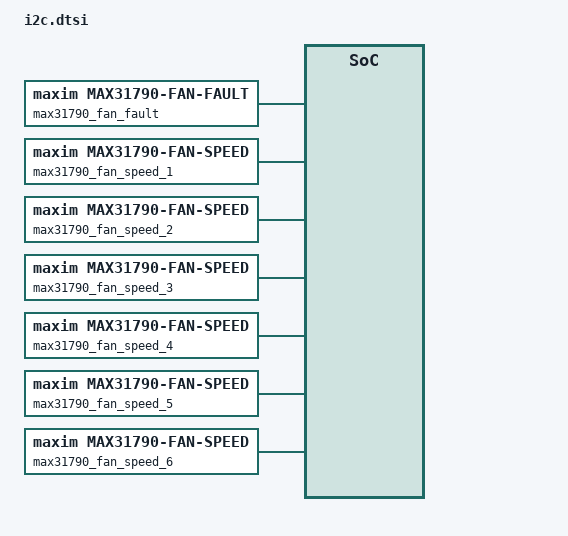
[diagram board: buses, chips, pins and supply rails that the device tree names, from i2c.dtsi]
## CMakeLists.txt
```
# SPDX-License-Identifier: Apache-2.0

cmake_minimum_required(VERSION 3.20.0)
find_package(Zephyr REQUIRED HINTS $ENV{ZEPHYR_BASE})
project(build_all)

# Exclude main when running the generic test because ztest supplies its own
target_sources_ifndef(CONFIG_GENERIC_SENSOR_TEST app PRIVATE src/main.c)
target_sources_ifdef(CONFIG_GENERIC_SENSOR_TEST app PRIVATE src/generic_test.c)
```

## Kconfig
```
# Copyright (c) 2023 Google LLC
# SPDX-License-Identifier: Apache-2.0

config GENERIC_SENSOR_TEST
	bool "Compile and run the generic sensor tests"
	depends on ZTEST
	help
	  Enables building and running the generic sensor test suite that will
	  iterate through the device tree and run sample path tests on any
	  sensor that supports the backend sensor emulator API.

config GENERIC_SENSOR_TEST_NUM_EXPECTED_VALS
	int "Number of expected values to use in test"
	default 5
	depends on GENERIC_SENSOR_TEST
	help
	  Controls the number of expected values to use in the generic sensor
	  test, interpolated from the sensor's reported lower and upper sample
	  range boundaries. The test will run one iteration for each expected
	  value. For example, if GENERIC_TEST_NUM_EXPECTED_VALS == 5, and the
	  sensor range is 0..100, the test will run 5 times with expected values
	  0, 25, 50, 75, and 100. These iterations are run in parallel.

source "Kconfig.zephyr"
```

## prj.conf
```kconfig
CONFIG_TEST=y
CONFIG_TEST_USERSPACE=y
CONFIG_LOG=y
CONFIG_SENSOR_LOG_LEVEL_DBG=y
CONFIG_SYS_CLOCK_TICKS_PER_SEC=1000
CONFIG_ADC=y
CONFIG_GPIO=y
CONFIG_I2C=y
CONFIG_I3C=y
CONFIG_PWM=y
CONFIG_PWM_CAPTURE=y
CONFIG_SERIAL=y
CONFIG_SPI=y
CONFIG_MFD=y
CONFIG_W1=y
CONFIG_SENSOR=y
CONFIG_ICM42605_TRIGGER_NONE=y
CONFIG_EMUL=y
```

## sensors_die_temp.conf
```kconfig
CONFIG_ISM330DHCX_ENABLE_TEMP=y
CONFIG_IIS2ICLX_ENABLE_TEMP=y
CONFIG_LSM6DS0_ENABLE_TEMP=y
CONFIG_LSM6DSV16X_ENABLE_TEMP=y
CONFIG_LSM6DSO_ENABLE_TEMP=y
CONFIG_LIS2DE12_ENABLE_TEMP=y
CONFIG_LIS2DS12_ENABLE_TEMP=y
CONFIG_LIS2DUX12_ENABLE_TEMP=y
CONFIG_LSM6DSO16IS_ENABLE_TEMP=y
CONFIG_LSM6DSL_ENABLE_TEMP=y
```

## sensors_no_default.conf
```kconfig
CONFIG_VL53L1X_INTERRUPT_MODE=n
CONFIG_VL53L1X_XSHUT=n
```

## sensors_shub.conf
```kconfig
CONFIG_IIS2ICLX_SENSORHUB=y
CONFIG_IIS2ICLX_EXT_LIS2MDL=y
CONFIG_IIS2ICLX_EXT_LPS22HB=y
CONFIG_IIS2ICLX_EXT_HTS221=y

CONFIG_ISM330DHCX_SENSORHUB=y
CONFIG_ISM330DHCX_EXT_LIS2MDL=y
CONFIG_ISM330DHCX_EXT_LPS22HB=y
CONFIG_ISM330DHCX_EXT_HTS221=y

CONFIG_LSM6DSL_SENSORHUB=y
CONFIG_LSM6DSL_EXT0_LIS2MDL=y
CONFIG_LSM6DSL_EXT0_LPS22HB=y

CONFIG_LSM6DSO_SENSORHUB=y
CONFIG_LSM6DSO_EXT_LIS2MDL=y
CONFIG_LSM6DSO_EXT_LPS22HB=y
CONFIG_LSM6DSO_EXT_HTS221=y

CONFIG_LSM6DSO16IS_SENSORHUB=y
CONFIG_LSM6DSO16IS_EXT_LIS2MDL=y
CONFIG_LSM6DSO16IS_EXT_LPS22HB=y
CONFIG_LSM6DSO16IS_EXT_HTS221=y

CONFIG_LSM6DSV16X_SENSORHUB=y
CONFIG_LSM6DSV16X_EXT_LIS2MDL=y
CONFIG_LSM6DSV16X_EXT_LPS22HB=y
CONFIG_LSM6DSV16X_EXT_HTS221=y
```

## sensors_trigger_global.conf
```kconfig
CONFIG_ADT7310_TRIGGER_GLOBAL_THREAD=y
CONFIG_ADT7420_TRIGGER_GLOBAL_THREAD=y
CONFIG_ADXL362_TRIGGER_GLOBAL_THREAD=y
CONFIG_ADXL367_TRIGGER_GLOBAL_THREAD=y
CONFIG_ADXL372_TRIGGER_GLOBAL_THREAD=y
CONFIG_AMG88XX_TRIGGER_GLOBAL_THREAD=y
CONFIG_APDS9960_TRIGGER_GLOBAL_THREAD=y
CONFIG_BMA280_TRIGGER_GLOBAL_THREAD=y
CONFIG_BMG160_TRIGGER_GLOBAL_THREAD=y
CONFIG_BMI08X_ACCEL_TRIGGER_GLOBAL_THREAD=y
CONFIG_BMI08X_GYRO_TRIGGER_GLOBAL_THREAD=y
CONFIG_BMI160_TRIGGER_GLOBAL_THREAD=y
CONFIG_BMI270_TRIGGER_GLOBAL_THREAD=y
CONFIG_BMM150_TRIGGER_GLOBAL_THREAD=y
CONFIG_BMP388_TRIGGER_GLOBAL_THREAD=y
CONFIG_BQ274XX_TRIGGER_GLOBAL_THREAD=y
CONFIG_CCS811_TRIGGER_GLOBAL_THREAD=y
CONFIG_ENS160_TRIGGER_GLOBAL_THREAD=y
CONFIG_FDC2X1X_TRIGGER_GLOBAL_THREAD=y
CONFIG_FXAS21002_TRIGGER_GLOBAL_THREAD=y
CONFIG_FXOS8700_TRIGGER_GLOBAL_THREAD=y
CONFIG_GROW_R502A_TRIGGER_GLOBAL_THREAD=y
CONFIG_HMC5883L_TRIGGER_GLOBAL_THREAD=y
CONFIG_HTS221_TRIGGER_GLOBAL_THREAD=y
CONFIG_ICM42605_TRIGGER_GLOBAL_THREAD=y
CONFIG_ICM42670_TRIGGER_GLOBAL_THREAD=y
CONFIG_ICM42688_TRIGGER_GLOBAL_THREAD=y
CONFIG_IIS2DH_TRIGGER_GLOBAL_THREAD=y
CONFIG_IIS2DLPC_TRIGGER_GLOBAL_THREAD=y
CONFIG_IIS2ICLX_TRIGGER_GLOBAL_THREAD=y
CONFIG_IIS2MDC_TRIGGER_GLOBAL_THREAD=y
CONFIG_IIS3DHHC_TRIGGER_GLOBAL_THREAD=y
CONFIG_ISL29035_TRIGGER_GLOBAL_THREAD=y
CONFIG_ISM330DHCX_TRIGGER_GLOBAL_THREAD=y
CONFIG_LIS2DH_TRIGGER_GLOBAL_THREAD=y
CONFIG_LIS2DE12_TRIGGER_GLOBAL_THREAD=y
CONFIG_LIS2DS12_TRIGGER_GLOBAL_THREAD=y
CONFIG_LIS2DU12_TRIGGER_GLOBAL_THREAD=y
CONFIG_LIS2DUX12_TRIGGER_GLOBAL_THREAD=y
CONFIG_LIS2DW12_TRIGGER_GLOBAL_THREAD=y
CONFIG_LIS2MDL_TRIGGER_GLOBAL_THREAD=y
CONFIG_LIS3MDL_TRIGGER_GLOBAL_THREAD=y
CONFIG_LM75_TRIGGER_GLOBAL_THREAD=y
CONFIG_LPS2XDF_TRIGGER_GLOBAL_THREAD=y
CONFIG_LPS22HH_TRIGGER_GLOBAL_THREAD=y
CONFIG_LSM6DSL_TRIGGER_GLOBAL_THREAD=y
CONFIG_LSM6DSO_TRIGGER_GLOBAL_THREAD=y
CONFIG_LSM6DSO16IS_TRIGGER_GLOBAL_THREAD=y
CONFIG_LSM6DSV16X_TRIGGER_GLOBAL_THREAD=y
CONFIG_MCP9808_TRIGGER_GLOBAL_THREAD=y
CONFIG_MPU6050_TRIGGER_GLOBAL_THREAD=y
CONFIG_MPU9250_TRIGGER_GLOBAL_THREAD=y
CONFIG_SHT3XD_TRIGGER_GLOBAL_THREAD=y
CONFIG_SM351LT_TRIGGER_GLOBAL_THREAD=y
CONFIG_STTS22H_TRIGGER_GLOBAL_THREAD=y
CONFIG_STTS751_TRIGGER_GLOBAL_THREAD=y
CONFIG_SX9500_TRIGGER_GLOBAL_THREAD=y
CONFIG_TCN75A_TRIGGER_GLOBAL_THREAD=y
CONFIG_TMAG5170_TRIGGER_GLOBAL_THREAD=y
CONFIG_TMD2620_TRIGGER_GLOBAL_THREAD=y
CONFIG_TMP007_TRIGGER_GLOBAL_THREAD=y
CONFIG_TSL2540_TRIGGER_GLOBAL_THREAD=y
CONFIG_TSL2591_TRIGGER_GLOBAL_THREAD=y
CONFIG_VCNL4040_TRIGGER_GLOBAL_THREAD=y
CONFIG_WSEN_HIDS_TRIGGER_GLOBAL_THREAD=y
CONFIG_WSEN_TIDS_TRIGGER_GLOBAL_THREAD=y
```

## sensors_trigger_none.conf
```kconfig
CONFIG_ADT7310_TRIGGER_NONE=y
CONFIG_ADT7420_TRIGGER_NONE=y
CONFIG_ADXL362_TRIGGER_NONE=y
CONFIG_ADXL367_TRIGGER_NONE=y
CONFIG_ADXL372_TRIGGER_NONE=y
CONFIG_AMG88XX_TRIGGER_NONE=y
CONFIG_APDS9960_TRIGGER_NONE=y
CONFIG_BMA280_TRIGGER_NONE=y
CONFIG_BMG160_TRIGGER_NONE=y
CONFIG_BMI08X_ACCEL_TRIGGER_NONE=y
CONFIG_BMI08X_GYRO_TRIGGER_NONE=y
CONFIG_BMI160_TRIGGER_NONE=y
CONFIG_BMI270_TRIGGER_NONE=y
CONFIG_BMM150_TRIGGER_NONE=y
CONFIG_BMP388_TRIGGER_NONE=y
CONFIG_BQ274XX_TRIGGER_NONE=y
CONFIG_CCS811_TRIGGER_NONE=y
CONFIG_ENS160_TRIGGER_NONE=y
CONFIG_FDC2X1X_TRIGGER_NONE=y
CONFIG_FXAS21002_TRIGGER_NONE=y
CONFIG_FXOS8700_TRIGGER_NONE=y
CONFIG_GROW_R502A_TRIGGER_NONE=y
CONFIG_HMC5883L_TRIGGER_NONE=y
CONFIG_HTS221_TRIGGER_NONE=y
CONFIG_ICM42605_TRIGGER_NONE=y
CONFIG_ICM42670_TRIGGER_NONE=y
CONFIG_ICM42688_TRIGGER_NONE=y
CONFIG_IIS2DH_TRIGGER_NONE=y
CONFIG_IIS2DLPC_TRIGGER_NONE=y
CONFIG_IIS2ICLX_TRIGGER_NONE=y
CONFIG_IIS2MDC_TRIGGER_NONE=y
CONFIG_IIS3DHHC_TRIGGER_NONE=y
CONFIG_ISL29035_TRIGGER_NONE=y
CONFIG_ISM330DHCX_TRIGGER_NONE=y
CONFIG_LIS2DH_TRIGGER_NONE=y
CONFIG_LIS2DE12_TRIGGER_NONE=y
CONFIG_LIS2DS12_TRIGGER_NONE=y
CONFIG_LIS2DU12_TRIGGER_NONE=y
CONFIG_LIS2DUX12_TRIGGER_NONE=y
CONFIG_LIS2DW12_TRIGGER_NONE=y
CONFIG_LIS2MDL_TRIGGER_NONE=y
CONFIG_LIS3MDL_TRIGGER_NONE=y
CONFIG_LM75_TRIGGER_NONE=y
CONFIG_LPS2XDF_TRIGGER_NONE=y
CONFIG_LPS22HH_TRIGGER_NONE=y
CONFIG_LSM6DSL_TRIGGER_NONE=y
CONFIG_LSM6DSO_TRIGGER_NONE=y
CONFIG_LSM6DSO16IS_TRIGGER_NONE=y
CONFIG_LSM6DSV16X_TRIGGER_NONE=y
CONFIG_MCP9808_TRIGGER_NONE=y
CONFIG_MPU6050_TRIGGER_NONE=y
CONFIG_MPU9250_TRIGGER_NONE=y
CONFIG_SHT3XD_TRIGGER_NONE=y
CONFIG_SM351LT_TRIGGER_NONE=y
CONFIG_STTS22H_TRIGGER_NONE=y
CONFIG_STTS751_TRIGGER_NONE=y
CONFIG_SX9500_TRIGGER_NONE=y
CONFIG_TCN75A_TRIGGER_NONE=y
CONFIG_TMAG5170_TRIGGER_NONE=y
CONFIG_TMD2620_TRIGGER_NONE=y
CONFIG_TMP007_TRIGGER_NONE=y
CONFIG_TSL2540_TRIGGER_NONE=y
CONFIG_TSL2591_TRIGGER_NONE=y
CONFIG_VCNL4040_TRIGGER_NONE=y
CONFIG_WSEN_HIDS_TRIGGER_NONE=y
CONFIG_WSEN_TIDS_TRIGGER_NONE=y
```

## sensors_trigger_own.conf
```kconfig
CONFIG_ADT7310_TRIGGER_OWN_THREAD=y
CONFIG_ADT7420_TRIGGER_OWN_THREAD=y
CONFIG_ADXL362_TRIGGER_OWN_THREAD=y
CONFIG_ADXL367_TRIGGER_OWN_THREAD=y
CONFIG_ADXL372_TRIGGER_OWN_THREAD=y
CONFIG_AMG88XX_TRIGGER_OWN_THREAD=y
CONFIG_BMA280_TRIGGER_OWN_THREAD=y
CONFIG_BMG160_TRIGGER_OWN_THREAD=y
CONFIG_BMI08X_ACCEL_TRIGGER_OWN_THREAD=y
CONFIG_BMI08X_GYRO_TRIGGER_OWN_THREAD=y
CONFIG_BMI160_TRIGGER_OWN_THREAD=y
CONFIG_BMI270_TRIGGER_OWN_THREAD=y
CONFIG_BMM150_TRIGGER_OWN_THREAD=y
CONFIG_BMP388_TRIGGER_OWN_THREAD=y
CONFIG_BQ274XX_TRIGGER_OWN_THREAD=y
CONFIG_CCS811_TRIGGER_OWN_THREAD=y
CONFIG_ENS160_TRIGGER_OWN_THREAD=y
CONFIG_FDC2X1X_TRIGGER_OWN_THREAD=y
CONFIG_FXAS21002_TRIGGER_OWN_THREAD=y
CONFIG_FXOS8700_TRIGGER_OWN_THREAD=y
CONFIG_GROW_R502A_TRIGGER_OWN_THREAD=y
CONFIG_HMC5883L_TRIGGER_OWN_THREAD=y
CONFIG_HTS221_TRIGGER_OWN_THREAD=y
CONFIG_ICM42670_TRIGGER_OWN_THREAD=y
CONFIG_ICM42688_TRIGGER_OWN_THREAD=y
CONFIG_IIS2DH_TRIGGER_OWN_THREAD=y
CONFIG_IIS2DLPC_TRIGGER_OWN_THREAD=y
CONFIG_IIS2ICLX_TRIGGER_OWN_THREAD=y
CONFIG_IIS2MDC_TRIGGER_OWN_THREAD=y
CONFIG_IIS3DHHC_TRIGGER_OWN_THREAD=y
CONFIG_ISL29035_TRIGGER_OWN_THREAD=y
CONFIG_ISM330DHCX_TRIGGER_OWN_THREAD=y
CONFIG_LIS2DH_TRIGGER_OWN_THREAD=y
CONFIG_LIS2DE12_TRIGGER_OWN_THREAD=y
CONFIG_LIS2DS12_TRIGGER_OWN_THREAD=y
CONFIG_LIS2DU12_TRIGGER_OWN_THREAD=y
CONFIG_LIS2DUX12_TRIGGER_OWN_THREAD=y
CONFIG_LIS2DW12_TRIGGER_OWN_THREAD=y
CONFIG_LIS2MDL_TRIGGER_OWN_THREAD=y
CONFIG_LIS3MDL_TRIGGER_OWN_THREAD=y
CONFIG_LPS2XDF_TRIGGER_OWN_THREAD=y
CONFIG_LPS22HH_TRIGGER_OWN_THREAD=y
CONFIG_LSM6DSL_TRIGGER_OWN_THREAD=y
CONFIG_LSM6DSO_TRIGGER_OWN_THREAD=y
CONFIG_LSM6DSO16IS_TRIGGER_OWN_THREAD=y
CONFIG_LSM6DSV16X_TRIGGER_OWN_THREAD=y
CONFIG_MC3419_TRIGGER_OWN_THREAD=y
CONFIG_MCP9808_TRIGGER_OWN_THREAD=y
CONFIG_MPU6050_TRIGGER_OWN_THREAD=y
CONFIG_MPU9250_TRIGGER_OWN_THREAD=y
CONFIG_SHT3XD_TRIGGER_OWN_THREAD=y
CONFIG_SM351LT_TRIGGER_OWN_THREAD=y
CONFIG_STTS22H_TRIGGER_OWN_THREAD=y
CONFIG_STTS751_TRIGGER_OWN_THREAD=y
CONFIG_SX9500_TRIGGER_OWN_THREAD=y
CONFIG_TCN75A_TRIGGER_OWN_THREAD=y
CONFIG_TMAG5170_TRIGGER_OWN_THREAD=y
CONFIG_TMP007_TRIGGER_OWN_THREAD=y
CONFIG_TSL2540_TRIGGER_OWN_THREAD=y
CONFIG_TSL2591_TRIGGER_OWN_THREAD=y
CONFIG_VCNL4040_TRIGGER_OWN_THREAD=y
CONFIG_WSEN_HIDS_TRIGGER_OWN_THREAD=y
CONFIG_WSEN_TIDS_TRIGGER_OWN_THREAD=y
```

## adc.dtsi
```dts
/*
 * Copyright (c) 2023 FTP Technologies
 * Copyright (c) 2023, Google LLC
 *
 * SPDX-License-Identifier: Apache-2.0
 *
 * Application overlay for ADC devices
 */

test_adc_mcp9700a: mcp9700a {
	status = "okay";
	compatible = "microchip,mcp970x";
	family = "MCP9700/9700A";
	io-channels = <&test_adc 0>;
};

test_voltage: voltage {
	status = "okay";
	compatible = "voltage-divider";
	io-channels = <&test_adc 1>;
	io-channel-names = "VOLTAGE";
	output-ohms = <47000>; /* R1 */
	full-ohms = <(100000 + 47000)>; /* R2 + R1 */
	power-gpios = <&test_gpio 0 0>;
};

test_current: current_amp {
	status = "okay";
	compatible = "current-sense-amplifier";
	io-channels = <&test_adc 2>;
	io-channel-names = "CURRENT_AMP";
	sense-resistor-micro-ohms = <10>;
	sense-gain-mult = <1>;
	sense-gain-div = <1>;
};

test_adc_emul: adc-emul {
	compatible = "zephyr,adc-emul";
	nchannels = <2>;
	ref-internal-mv = <3300>;
	ref-external1-mv = <5000>;
	#io-channel-cells = <1>;
	status = "okay";
};

test_adc_ntc_thermistor_generic: ntc-thermistor-generic {
	compatible = "ntc-thermistor-generic";
	io-channels = <&test_adc 0>;
	pullup-uv = <3300000>;
	pullup-ohm = <0>;
	pulldown-ohm = <10000>;
	connected-positive;
	zephyr,compensation-table = <0 0>, <1 1>;
};

test_adc_epcos_b57861s0103a039: epcos-b57861s0103a039 {
	compatible = "epcos,b57861s0103a039";
	io-channels = <&test_adc 0>;
	pullup-uv = <3300000>;
	pullup-ohm = <0>;
	pulldown-ohm = <10000>;
	connected-positive;
};

test_murata_ncp15wb473: murata-ncp15wb473 {
	compatible = "murata,ncp15wb473";
	io-channels = <&test_adc 0>;
	pullup-uv = <3300000>;
	pullup-ohm = <0>;
	pulldown-ohm = <10000>;
	connected-positive;
};

test_tdk_ntcg163jf103ft1: tdk-ntcg163jf103ft1 {
	compatible = "tdk,ntcg163jf103ft1";
	io-channels = <&adc0 0>;
	pullup-uv = <3300000>;
	pullup-ohm = <0>;
	pulldown-ohm = <10000>;
	connected-positive;
};

test_lm35: lm35 {
	compatible = "lm35";
	io-channels = <&adc0 0>;
	status = "okay";
};

test_murata_ncp15xh103: murata-ncp15xh103 {
	compatible = "murata,ncp15xh103";
	io-channels = <&test_adc 0>;
	pullup-uv = <3300000>;
	pullup-ohm = <0>;
	pulldown-ohm = <10000>;
	connected-positive;
};
```

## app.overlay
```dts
/*
 * Copyright (c) 2020, Linaro Ltd.
 *
 * SPDX-License-Identifier: Apache-2.0
 *
 * Application overlay for testing driver builds
 *
 * Names in this file should be chosen in a way that won't conflict
 * with real-world devicetree nodes, to allow these tests to run on
 * (and be extended to test) real hardware.
 */

/ {
	test {
		#address-cells = <1>;
		#size-cells = <1>;

		test_adc: adc@adc0adc0 {
			compatible = "vnd,adc";
			reg = <0xadc0adc0 0x1000>;
			#io-channel-cells = <1>;
			#address-cells = <1>;
			#size-cells = <0>;
			status = "okay";

			channel@0 {
				reg = <0>;
				zephyr,gain = "ADC_GAIN_1";
				zephyr,reference = "ADC_REF_VDD_1";
				zephyr,acquisition-time = <ADC_ACQ_TIME_DEFAULT>;
				zephyr,input-positive = <0>;
				zephyr,resolution = <12>;
			};

			channel@1 {
				reg = <1>;
				zephyr,gain = "ADC_GAIN_1_6";
				zephyr,reference = "ADC_REF_INTERNAL";
				zephyr,acquisition-time = <ADC_ACQ_TIME_DEFAULT>;
				zephyr,input-positive = <0>;
				zephyr,resolution = <12>;
			};

			channel@2 {
				reg = <2>;
				zephyr,gain = "ADC_GAIN_1_6";
				zephyr,reference = "ADC_REF_INTERNAL";
				zephyr,acquisition-time = <ADC_ACQ_TIME_DEFAULT>;
				zephyr,input-positive = <0>;
				zephyr,resolution = <12>;
			};

			#include "adc.dtsi"
		};

		test_gpio: gpio@deadbeef {
			compatible = "vnd,gpio";
			gpio-controller;
			reg = <0xdeadbeef 0x1000>;
			#gpio-cells = <0x2>;
			status = "okay";

			#include "gpio.dtsi"
		};

		test_i2c: i2c@11112222 {
			#address-cells = <1>;
			#size-cells = <0>;
			compatible = "zephyr,i2c-emul-controller";
			reg = <0x11112222 0x1000>;
			status = "okay";
			clock-frequency = <100000>;

			#include "i2c.dtsi"
		};

		test_pwm: pwm@12341234 {
			compatible = "vnd,pwm";
			reg = <0x12341234 0x1000>;
			#pwm-cells = <3>;
			status = "okay";

			#include "pwm.dtsi"
		};

		test_spi: spi@33334444 {
			#address-cells = <1>;
			#size-cells = <0>;
			compatible = "zephyr,spi-emul-controller";
			reg = <0x33334444 0x1000>;
			status = "okay";
			clock-frequency = <2000000>;

			/* one entry for every devices at spi.dtsi */
			cs-gpios = <&test_gpio 0 0>,	/* 0x00 */
				   <&test_gpio 0 0>,
				   <&test_gpio 0 0>,
				   <&test_gpio 0 0>,
				   <&test_gpio 0 0>,
				   <&test_gpio 0 0>,
				   <&test_gpio 0 0>,
				   <&test_gpio 0 0>,
				   <&test_gpio 0 0>,
				   <&test_gpio 0 0>,
				   <&test_gpio 0 0>,
				   <&test_gpio 0 0>,
				   <&test_gpio 0 0>,
				   <&test_gpio 0 0>,
				   <&test_gpio 0 0>,
				   <&test_gpio 0 0>,
				   <&test_gpio 0 0>,	/* 0x10 */
				   <&test_gpio 0 0>,
				   <&test_gpio 0 0>,
				   <&test_gpio 0 0>,
				   <&test_gpio 0 0>,
				   <&test_gpio 0 0>,
				   <&test_gpio 0 0>,
				   <&test_gpio 0 0>,
				   <&test_gpio 0 0>,
				   <&test_gpio 0 0>,
				   <&test_gpio 0 0>,
				   <&test_gpio 0 0>,
				   <&test_gpio 0 0>,
				   <&test_gpio 0 0>,
				   <&test_gpio 0 0>,
				   <&test_gpio 0 0>,
				   <&test_gpio 0 0>,	/* 0x20 */
				   <&test_gpio 0 0>,
				   <&test_gpio 0 0>,
				   <&test_gpio 0 0>,
				   <&test_gpio 0 0>,
				   <&test_gpio 0 0>,
				   <&test_gpio 0 0>,
				   <&test_gpio 0 0>,
				   <&test_gpio 0 0>,
				   <&test_gpio 0 0>,
				   <&test_gpio 0 0>,
				   <&test_gpio 0 0>,
				   <&test_gpio 0 0>,
				   <&test_gpio 0 0>,
				   <&test_gpio 0 0>;	/* 0x2e */

			#include "spi.dtsi"
		};

		test_uart: uart@55556666 {
			compatible = "vnd,serial";
			reg = <0x55556666 0x1000>;
			status = "okay";

			#include "uart.dtsi"
		};

		test_w1: w1@66660000 {
			compatible = "vnd,w1";
			reg = <0x66660000 0x1000>;
			#address-cells = <1>;
			#size-cells = <0>;
			status = "okay";

			#include "w1.dtsi"
		};

		test_i3c: i3c@f0cacc1a {
			#address-cells = <3>;
			#size-cells = <0>;
			compatible = "vnd,i3c";
			reg = <0xf0cacc1a 0x1000>;
			status = "okay";

			#include "i3c.dtsi"
		};

	};
};

/* Put device specific modifications to properties or disabling of devices
 * here to keep the bus specific dtsi files (i2c.dtsi, spi.dtsi, etc..)
 * pristine
 */

/* disable device to conflict with i2c version */
&test_i2c_ism330dhcx {
	status = "disabled";
};

/* disable device to conflict with i2c version */
&test_spi_bme280 {
	status = "disabled";
};

/* disable device to conflict with i2c version */
&test_spi_iis2dh {
	status = "disabled";
};
```

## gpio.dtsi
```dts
/*
 * Copyright (c) 2020, Laird Connectivity
 *
 * SPDX-License-Identifier: Apache-2.0
 *
 * Application overlay for gpio devices
 */

test_gpio_sm351lt: sm351lt0 {
	compatible = "honeywell,sm351lt";
	gpios = <&test_gpio 0 0>;
};

test_gpio_dht22: dht22 {
	compatible = "aosong,dht";
	status = "okay";
	dio-gpios = <&test_gpio 0 0>;
	/* dht22; */
};
```

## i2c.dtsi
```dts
/*
 * Copyright (c) 2020, Linaro Ltd.
 *
 * SPDX-License-Identifier: Apache-2.0
 *
 * Application overlay for i2c devices
 */

#include <zephyr/dt-bindings/sensor/lsm6dsv16x.h>
#include <zephyr/dt-bindings/sensor/lsm6dso.h>
#include <zephyr/dt-bindings/sensor/lsm6dso16is.h>
#include <zephyr/dt-bindings/sensor/lps22hh.h>
#include <zephyr/dt-bindings/sensor/lps2xdf.h>
#include <zephyr/dt-bindings/sensor/lis2ds12.h>
#include <zephyr/dt-bindings/sensor/lis2dw12.h>
#include <zephyr/dt-bindings/sensor/ism330dhcx.h>
#include <zephyr/dt-bindings/sensor/iis2dlpc.h>
#include <zephyr/dt-bindings/sensor/lis2dh.h>
#include <zephyr/dt-bindings/sensor/iis2iclx.h>
#include <zephyr/dt-bindings/sensor/lis2du12.h>
#include <zephyr/dt-bindings/sensor/lis2dux12.h>
#include <zephyr/dt-bindings/sensor/lis2de12.h>
#include <zephyr/dt-bindings/sensor/tmag5273.h>
#include <zephyr/dt-bindings/sensor/stts22h.h>
#include <zephyr/dt-bindings/sensor/ina226.h>

/****************************************
 * PLEASE KEEP REG ADDRESSES SEQUENTIAL *
 ***************************************/

test_i2c_adt7420: adt7420@0 {
	compatible = "adi,adt7420";
	reg = <0x0>;
	int-gpios = <&test_gpio 0 0>;
};

test_i2c_adxl345: adxl345@1 {
	compatible = "adi,adxl345";
	reg = <0x1>;
};

test_i2c_adxl372: adxl372@2 {
	compatible = "adi,adxl372";
	reg = <0x2>;
	int1-gpios = <&test_gpio 0 0>;
};

test_i2c_ccs811: ccs811@3 {
	compatible = "ams,ccs811";
	reg = <0x3>;
	wake-gpios = <&test_gpio 0 0>;
	reset-gpios = <&test_gpio 0 0>;
	irq-gpios = <&test_gpio 0 0>;
};

test_i2c_ens210: ens210@4 {
	compatible = "ams,ens210";
	reg = <0x4>;
};

test_i2c_iaqcore: iaqcore@5 {
	compatible = "ams,iaqcore";
	reg = <0x5>;
};

test_i2c_bme280: bme280@6 {
	compatible = "bosch,bme280";
	reg = <0x6>;
};

test_i2c_apds9960: apds9960@7 {
	compatible = "avago,apds9960";
	reg = <0x7>;
	int-gpios = <&test_gpio 0 0>;
};

test_i2c_bma280: bma280@8 {
	compatible = "bosch,bma280";
	reg = <0x8>;
	int1-gpios = <&test_gpio 0 0>;
	/* is-bmc150; */
};

test_i2c_bmc150_magn: bmc150_magn@9 {
	compatible = "bosch,bmc150_magn";
	reg = <0x9>;
	drdy-gpios = <&test_gpio 0 0>;
};

test_i2c_ak8975: ak8975@a {
	compatible = "asahi-kasei,ak8975";
	reg = <0xa>;
};

test_i2c_bme680: bme680@b {
	compatible = "bosch,bme680";
	reg = <0xb>;
};

test_i2c_bmg160: bmg160@c {
	compatible = "bosch,bmg160";
	reg = <0xc>;
	int-gpios = <&test_gpio 0 0>;
};

test_i2c_bmm150: bmm150@d {
	compatible = "bosch,bmm150";
	reg = <0xd>;
	drdy-gpios = <&test_gpio 0 0>;
};

test_i2c_hmc5883l: hmc5883l@e {
	compatible = "honeywell,hmc5883l";
	reg = <0xe>;
	int-gpios = <&test_gpio 0 0>;
};

test_i2c_hp206c: hp206c@f {
	compatible = "hoperf,hp206c";
	reg = <0xf>;
};

test_i2c_th02: th02@10 {
	compatible = "hoperf,th02";
	reg = <0x10>;
};

test_i2c_mpu6050: mpu6050@11 {
	compatible = "invensense,mpu6050";
	reg = <0x11>;
	int-gpios = <&test_gpio 0 0>;
};

test_i2c_mpu9250: mpu9250@12 {
	compatible = "invensense,mpu9250";
	reg = <0x12>;
	irq-gpios = <&test_gpio 0 0>;
	gyro-sr-div = <10>;
	gyro-dlpf = <5>;
	gyro-fs = <250>;
	accel-fs = <2>;
	accel-dlpf = "5.05";
};

test_i2c_ina219: ina219@13 {
	compatible = "ti,ina219";
	reg = <0x13>;
	brng = <0>;
	pg = <0>;
	sadc = <13>;
	badc = <13>;
	shunt-milliohm = <100>;
	lsb-microamp = <10>;
};

test_i2c_isl29035: isl29035@14 {
	compatible = "isil,isl29035";
	reg = <0x14>;
	int-gpios = <&test_gpio 0 0>;
};

test_i2c_max30101: max30101@15 {
	compatible = "maxim,max30101";
	reg = <0x15>;
};

test_i2c_max44009: max44009@16 {
	compatible = "maxim,max44009";
	reg = <0x16>;
	int-gpios = <&test_gpio 0 0>;
};

test_i2c_ms5607: ms5607@17 {
	compatible = "meas,ms5607";
	reg = <0x17>;
};

test_i2c_ms5837: ms5837@18 {
	compatible = "meas,ms5837";
	reg = <0x18>;
};

test_i2c_mcp9808: mcp9808@19 {
	compatible = "microchip,mcp9808";
	reg = <0x19>;
	int-gpios = <&test_gpio 0 0>;
};

test_i2c_fxas21002: fxas21002@1a {
	compatible = "nxp,fxas21002";
	reg = <0x1a>;
	int1-gpios = <&test_gpio 0 0>;
	int2-gpios = <&test_gpio 0 0>;
};

test_i2c_fxos8700: fxos8700@1b {
	compatible = "nxp,fxos8700";
	reg = <0x1b>;
	reset-gpios = <&test_gpio 0 0>;
	int1-gpios = <&test_gpio 0 0>;
	int2-gpios = <&test_gpio 0 0>;
};

test_i2c_amg88xx: amg88xx@1c {
	compatible = "panasonic,amg88xx";
	reg = <0x1c>;
	int-gpios = <&test_gpio 0 0>;
};

test_i2c_sx9500: sx9500@1d {
	compatible = "semtech,sx9500";
	reg = <0x1d>;
	int-gpios = <&test_gpio 0 0>;
};

test_i2c_sgp40: sgp40@1e {
	compatible = "sensirion,sgp40";
	reg = <0x1e>;
	enable-selftest;
};

test_i2c_sht3xd: sht3xd@1f {
	compatible = "sensirion,sht3xd";
	reg = <0x1f>;
	alert-gpios = <&test_gpio 0 0>;
};

test_i2c_sht4xd: sht4x@20 {
	compatible = "sensirion,sht4x";
	reg = <0x20>;
	repeatability = <2>;
};

test_i2c_shtc3: shtc3@21 {
	compatible = "sensirion,shtc3", "sensirion,shtcx";
	reg = <0x21>;
	measure-mode = "normal";
	clock-stretching;
};

test_i2c_si7006: si7006@22 {
	compatible = "silabs,si7006";
	reg = <0x22>;
};

test_i2c_si7055: si7055@23 {
	compatible = "silabs,si7055";
	reg = <0x23>;
};

test_i2c_si7060: si7060@24 {
	compatible = "silabs,si7060";
	reg = <0x24>;
};

test_i2c_si7210: si7010@25 {
	compatible = "silabs,si7210";
	reg = <0x25>;
};

test_i2c_hts221: hts221@26 {
	compatible = "st,hts221";
	reg = <0x26>;
	drdy-gpios = <&test_gpio 0 0>;
};

test_i2c_iis2dlpc: iis2dlpc@27 {
	compatible = "st,iis2dlpc";
	reg = <0x27>;
	drdy-gpios = <&test_gpio 0 0>;
	tap-mode = <IIS2DLPC_DT_SINGLE_DOUBLE_TAP>;
	power-mode = <IIS2DLPC_DT_HP_MODE>;
};

test_i2c_iis2mdc: iis2mdc@28 {
	compatible = "st,iis2mdc";
	reg = <0x28>;
	drdy-gpios = <&test_gpio 0 0>;
};

test_i2c_ism330dhcx: ism330dhcx@29 {
	compatible = "st,ism330dhcx";
	reg = <0x29>;
	drdy-gpios = <&test_gpio 0 0>;
	accel-odr = <ISM330DHCX_DT_ODR_104Hz>;
	gyro-odr = <ISM330DHCX_DT_ODR_104Hz>;
};

test_i2c_lis2dh: lis2dh@2a {
	compatible = "st,lis2dh";
	reg = <0x2a>;
	irq-gpios = <&test_gpio 0 0>;
	/* disconnect-sdo-sa0-pull-up; */
	int1-gpio-config = <LIS2DH_DT_GPIO_INT_LEVEL_LOW>;
	int2-gpio-config = <LIS2DH_DT_GPIO_INT_LEVEL_LOW>;
	anym-mode = <LIS2DH_DT_ANYM_6D_POSITION>;
};

test_i2c_lis2dh12: lis2dh12@2b {
	compatible = "st,lis2dh12";
	reg = <0x2b>;
	irq-gpios = <&test_gpio 0 0>;
	status = "disabled";
};

test_i2c_lis2ds12: lis2ds12@2c {
	compatible = "st,lis2ds12";
	reg = <0x2c>;
	irq-gpios = <&test_gpio 0 0>;
	power-mode = <LIS2DS12_DT_LOW_POWER>;
	odr = <LIS2DS12_DT_ODR_12Hz5>;
};

test_i2c_lis2dw12: lis2dw12@2d {
	compatible = "st,lis2dw12";
	reg = <0x2d>;
	irq-gpios = <&test_gpio 0 0>;
	wakeup-duration = <LIS2DW12_DT_WAKEUP_4_ODR>;
	ff-threshold = <LIS2DW12_DT_FF_THRESHOLD_500_mg>;
	tap-mode = <LIS2DW12_DT_SINGLE_DOUBLE_TAP>;
	power-mode = <LIS2DW12_DT_HP_MODE>;
	bw-filt = <LIS2DW12_DT_FILTER_BW_ODR_DIV_2>;
};

test_i2c_lis2mdl: lis2mdl@2e {
	compatible = "st,lis2mdl";
	reg = <0x2e>;
	irq-gpios = <&test_gpio 0 0>;
};

test_i2c_lis3dh: lis3dh@2f {
	compatible = "st,lis3dh";
	reg = <0x2f>;
	irq-gpios = <&test_gpio 0 0>;
	status = "disabled";
};

test_i2c_lis3mdl_magn: lis3mdl-magn@30 {
	compatible = "st,lis3mdl-magn";
	reg = <0x30>;
	irq-gpios = <&test_gpio 0 0>;
};

test_i2c_lps22hb_press: lps22hb-press@31 {
	compatible = "st,lps22hb-press";
	reg = <0x31>;
};

test_i2c_lps22hh: lps22hh@32 {
	compatible = "st,lps22hh";
	reg = <0x32>;
	drdy-gpios = <&test_gpio 0 0>;
	odr = <LPS22HH_DT_ODR_200HZ>;
};

test_i2c_lps25hb_press: lps25hb-press@33 {
	compatible = "st,lps25hb-press";
	reg = <0x33>;
};

test_i2c_lsm303agr_accel: lsm303agr-accel@34 {
	compatible = "st,lsm303agr-accel";
	reg = <0x34>;
	irq-gpios = <&test_gpio 0 0>;
	/* disconnect-sdo-sa0-pull-up; */
	status = "disabled";
};

test_i2c_lsm303dlhc_accel: lsm303dlhc-accel@35 {
	compatible = "st,lsm303dlhc-accel";
	reg = <0x35>;
	irq-gpios = <&test_gpio 0 0>;
	/* disconnect-sdo-sa0-pull-up; */
	status = "disabled";
};

test_i2c_lsm303dlhc_magn: lsm303dlhc-magn@36 {
	compatible = "st,lsm303dlhc-magn";
	reg = <0x36>;
};

test_i2c_lsm6ds0: lsm6ds0@37 {
	compatible = "st,lsm6ds0";
	reg = <0x37>;
};

test_i2c_lsm6dsl: lsm6dsl@38 {
	compatible = "st,lsm6dsl";
	reg = <0x38>;
	irq-gpios = <&test_gpio 0 0>;
};

test_i2c_lsm6dso: lsm6dso@39 {
	compatible = "st,lsm6dso";
	reg = <0x39>;
	irq-gpios = <&test_gpio 0 0>;
	accel-pm = <LSM6DSO_DT_XL_ULP_MODE>;
	accel-range = <LSM6DSO_DT_FS_8G>;
	accel-odr = <LSM6DSO_DT_ODR_1Hz6>;
	gyro-pm = <LSM6DSO_DT_GY_NORMAL_MODE>;
	gyro-range = <LSM6DSO_DT_FS_2000DPS>;
	gyro-odr = <LSM6DSO_DT_ODR_6667Hz>;
};

test_i2c_lsm9ds0_gyro: lsm9ds0-gyro@3a {
	compatible = "st,lsm9ds0-gyro";
	reg = <0x3a>;
	irq-gpios = <&test_gpio 0 0>;
};

test_i2c_lsm9ds0_mfd: lsm9ds0-mfd@3b {
	compatible = "st,lsm9ds0-mfd";
	reg = <0x3b>;
	irq-gpios = <&test_gpio 0 0>;
};

test_i2c_stts751: stts751@3c {
	compatible = "st,stts751";
	reg = <0x3c>;
	drdy-gpios = <&test_gpio 0 0>;
};

test_i2c_vl53l0x: vl53l0x@3d {
	compatible = "st,vl53l0x";
	reg = <0x3d>;
	xshut-gpios = <&test_gpio 0 0>;
};

test_i2c_hdc: hdc@3e {
	compatible = "ti,hdc";
	reg = <0x3e>;
	drdy-gpios = <&test_gpio 0 0>;
};

test_i2c_hdc2010: hdc2010@3f {
	compatible = "ti,hdc2010";
	reg = <0x3f>;
};

test_i2c_hdc2021: hdc2021@40 {
	compatible = "ti,hdc2021";
	reg = <0x40>;
};

test_i2c_hdc2022: hdc2022@41 {
	compatible = "ti,hdc2022";
	reg = <0x41>;
};

test_i2c_hdc2080: hdc2080@42 {
	compatible = "ti,hdc2080";
	reg = <0x42>;
};

test_i2c_opt3001: opt3001@43 {
	compatible = "ti,opt3001";
	reg = <0x43>;
};

test_i2c_tmp007: tmp007@44 {
	compatible = "ti,tmp007";
	reg = <0x44>;
	int-gpios = <&test_gpio 0 0>;
};

test_i2c_tmp108: tmp108@45 {
	compatible = "ti,tmp108";
	reg = <0x45>;
	alert-gpios = <&test_gpio 0 0>;
};

test_i2c_tmp112: tmp112@46 {
	compatible = "ti,tmp112";
	reg = <0x46>;
};

test_i2c_tmp116: tmp116@47 {
	compatible = "ti,tmp116";
	reg = <0x47>;
};

test_i2c_bq274xx: bq27xx@48 {
	compatible = "ti,bq274xx";
	reg = <0x48>;
	design-voltage = <3700>;
	design-capacity = <1800>;
	taper-current = <45>;
	terminate-voltage = <3000>;
	int-gpios = <&test_gpio 0 0>;
};

test_i2c_mpr: mpr@49 {
	compatible = "honeywell,mpr";
	reg = <0x49>;
};

test_i2c_dps310: dps310@4a {
	compatible = "infineon,dps310";
	reg = <0x4a>;
};

test_i2c_iis2dh: iis2dh@4b {
	compatible = "st,iis2dh";
	reg = <0x4b>;
	drdy-gpios = <&test_gpio 0 0>;
};

test_i2c_iis2iclx: iis2iclx@4c {
	compatible = "st,iis2iclx";
	reg = <0x4c>;
	drdy-gpios = <&test_gpio 0 0>;
	int-pin = <1>;
	range = <IIS2ICLX_DT_FS_2G>;
	odr = <IIS2ICLX_DT_ODR_833Hz>;
};

test_i2c_wsen_hids: wsen_hids@4d {
	compatible = "we,wsen-hids";
	reg = <0x4d>;
	drdy-gpios = <&test_gpio 0 0>;
	odr = "1";
};

test_i2c_itds: itds@4e {
	compatible = "we,wsen-itds";
	reg = <0x4e>;
	int-gpios = <&test_gpio 0 0>;
	odr = "800";
	op-mode = "high-perf";
};

test_i2c_max17055: max17055@4f {
	compatible = "maxim,max17055";
	reg = <0x4f>;
	design-capacity = <1500>;
	design-voltage = <3860>;
	desired-charging-current = <2000>;
	desired-voltage = <4400>;
	i-chg-term = <100>;
	rsense-mohms = <5>;
	v-empty = <3300>;
};

test_i2c_max17262: max17262@50 {
	compatible = "maxim,max17262";
	reg = <0x50>;
	design-voltage = <3600>;
	desired-voltage = <3600>;
	desired-charging-current = <2000>;
	design-cap = <17000>;
	empty-voltage = <3300>;
	recovery-voltage = <3880>;
	charge-voltage = <3600>;
};

test_i2c_vcnl4040: vcnl4040@51 {
	compatible = "vishay,vcnl4040";
	reg = <0x51>;
	int-gpios = <&test_gpio 0 0>;
};

test_i2c_bmi160: bmi160@52 {
	compatible = "bosch,bmi160";
	reg = <0x52>;
	int-gpios = <&test_gpio 0 0>;
};

test_i2c_bmi270: bmi270@53 {
	compatible = "bosch,bmi270";
	reg = <0x53>;
	irq-gpios = <&test_gpio 0 0>;
};

test_i2c_fdc2x1x: fdc2x1x@54 {
	compatible = "ti,fdc2x1x";
	reg = <0x54>;
	intb-gpios = <&test_gpio 0 0>;
	sd-gpios = <&test_gpio 0 0>;
	deglitch = <5>;
	fref = <43360>;
	channel_0 {
		rcount = <7499>;
		settlecount = <48>;
		fref-divider = <1>;
		idrive = <10>;
		fin-sel = <2>;
		inductance = <18>;
	};
};

test_i2c_bmp388: bmp388@55 {
	compatible = "bosch,bmp388";
	reg = <0x55>;
	int-gpios = <&test_gpio 0 0>;
};

test_i2c_lm75: lm75@56 {
	compatible = "lm75";
	reg = <0x56>;
	int-gpios = <&test_gpio 0 0>;
};

test_i2c_ina230: ina230@57 {
	compatible = "ti,ina230";
	reg = <0x57>;
	current-lsb-microamps = <1000>;
	rshunt-micro-ohms = <1000>;
	mask = <0>;
	alert-limit = <0>;
	alert-gpios = <&test_gpio 0 0>;
};

test_i2c_lm77: lm77@58 {
	compatible = "lm77";
	reg = <0x58>;
	int-gpios = <&test_gpio 0 0>;
};

test_i2c_ina231: ina231@59 {
	compatible = "ti,ina230";
	reg = <0x59>;
	current-lsb-microamps = <1000>;
	rshunt-micro-ohms = <1000>;
	mask = <0>;
	alert-limit = <0>;
	alert-gpios = <&test_gpio 0 0>;
};

test_i2c_ina237: ina237@5a {
	compatible = "ti,ina237";
	reg = <0x5a>;
	current-lsb-microamps = <1000>;
	rshunt-micro-ohms = <1000>;
	alert-config = <0>;
	alert-gpios = <&test_gpio 0 0>;
};

test_i2c_max31875: max31875@5b {
	compatible = "maxim,max31875";
	reg = <0x5b>;
};

test_i2c_icp10125: icp10125@5c {
	compatible = "invensense,icp10125";
	reg = <0x5c>;
	temperature-measurement-mode = "normal";
	pressure-measurement-mode = "normal";
};

test_i2c_as5600: as5600@5d {
	compatible = "ams,as5600";
	reg = <0x5d>;
};

test_i2c_bh1750: bh1750@5e {
	compatible = "rohm,bh1750";
	reg = <0x5e>;
};

test_i2c_akm09918c: akm09918c@5f {
	compatible = "asahi-kasei,akm09918c";
	reg = <0x5f>;
};

test_i2c_wsen_tids: wsen_tids@60 {
	compatible = "we,wsen-tids";
	reg = <0x60>;
	int-gpios = <&test_gpio 0 0>;
	odr = <25>;
	temp-high-threshold = <0>;
	temp-low-threshold = <0>;
};

test_i2c_vl53l1x: vl53l1x@61 {
	compatible = "st,vl53l1x";
	reg = <0x61>;
	int-gpios = <&test_gpio 0 0>;
	xshut-gpios = <&test_gpio 0 0>;
};

test_i2c_tmd2620: tmd2620@62 {
	compatible = "ams,tmd2620";
	reg = <0x62>;
	int-gpios = <&test_gpio 0 0>;
	proximity-gain = <4>;
	proximity-pulse-length = <16>;
	proximity-pulse-count = <15>;
	proximity-high-threshold = <255>;
	proximity-low-threshold = <0>;
	proximity-led-drive-strength = <4>;
	proximity-interrupt-filter = <0>;
	wait-time-factor = <0>;
};

test_i2c_wsen_pads: wsen_pads@63 {
	compatible = "we,wsen-pads";
	reg = <0x63>;
	drdy-gpios = <&test_gpio 0 0>;
	odr = <1>;
};

test_i2c_s11059: s11059@64 {
	compatible = "hamamatsu,s11059";
	reg = <0x64>;
	integration-time = <546000>;
};

test_i2c_wsen_pdus: wsen_pdus@65 {
	compatible = "we,wsen-pdus";
	reg = <0x65>;
	sensor-type = <3>;
};

test_i2c_veml7700: veml7700@66 {
	compatible = "vishay,veml7700";
	reg = <0x66>;
	psm-mode = <0x03>;
};

test_i2c_ina3221: ina3221@67 {
	compatible = "ti,ina3221";
	reg = <0x67>;
	shunt-resistors = <1000 1000 1000>;
	enable-channel = <1 0 0>;
	conv-time-bus = <7>;
	conv-time-shunt = <7>;
	avg-mode = <2>;
};

test_i2c_lsm6dso16is: lsm6dso16is@68 {
	compatible = "st,lsm6dso16is";
	reg = <0x68>;
	irq-gpios = <&test_gpio 0 0>;
	accel-range = <LSM6DSO16IS_DT_FS_8G>;
	accel-odr = <LSM6DSO16IS_DT_ODR_104Hz_LP>;
	gyro-range = <LSM6DSO16IS_DT_FS_2000DPS>;
	gyro-odr = <LSM6DSO16IS_DT_ODR_104Hz_LP>;
};

test_i2c_lsm6dsv16x: lsm6dsv16x@69 {
	compatible = "st,lsm6dsv16x";
	reg = <0x69>;
	int1-gpios = <&test_gpio 0 0>;
	int2-gpios = <&test_gpio 0 0>;
	accel-range = <LSM6DSV16X_DT_FS_8G>;
	accel-odr = <LSM6DSV16X_DT_ODR_AT_60Hz>;
	gyro-range = <LSM6DSV16X_DT_FS_2000DPS>;
	gyro-odr = <LSM6DSV16X_DT_ODR_AT_60Hz>;
};

test_i2c_mcp9600: mcp9600@6a {
	compatible = "microchip,mcp9600";
	reg = <0x6a>;
};

test_i2c_tcs3400: tcs3400@6b {
	compatible = "ams,tcs3400";
	reg = <0x6b>;
	int-gpios = <&test_gpio 0 0>;
};

test_i2c_tcn75a: tcn75a@6c {
	compatible = "microchip,tcn75a";
	reg = <0x6c>;
	alert-gpios = <&test_gpio 0 0>;
};

test_i2c_bmi08x_accel: bmi08x@6d {
	compatible = "bosch,bmi08x-accel";
	reg = <0x6d>;
	int-gpios = <&test_gpio 0 0>;
	int1-map-io = <0x01>;
	int2-map-io = <0x00>;
	int1-conf-io = <0x0A>;
	int2-conf-io = <0x17>;
	accel-hz = "800";
	accel-fs = <4>;
};

test_i2c_bmi08x_gyro: bmi08x@6e {
	compatible = "bosch,bmi08x-gyro";
	reg = <0x6e>;
	int-gpios = <&test_gpio 0 0>;
	int3-4-map-io = <0x01>;
	int3-4-conf-io = <0x01>;
	gyro-hz = "1000_116";
	gyro-fs = <1000>;
};

test_i2c_ist8310: ist8310@6f {
	compatible = "isentek,ist8310";
	reg = <0x6f>;
	status = "okay";
};

test_i2c_f75303: f75303@70 {
	compatible = "fintek,f75303";
	reg = <0x70>;
};

test_i2c_tsl2540: tsl2540@71 {
	compatible = "ams,tsl2540";
	reg = <0x71>;
	int-gpios = <&test_gpio 0 0>;
};

test_i2c_adltc2990@72 {
	compatible = "adi,adltc2990";
	reg = <0x72>;
	status = "okay";
	measurement-mode = <7 3>;
	pins-v1-v2-current-resistor = <1>;
	pin-v1-voltage-divider-resistors = <100 10>;
	pin-v2-voltage-divider-resistors = <100 10>;
	pin-v3-voltage-divider-resistors = <100 100>;
	pin-v4-voltage-divider-resistors = <0 1>;
};

test_i2c_hm330x@73 {
	compatible = "seeed,hm330x";
	reg = <0x73>;
	status = "okay";
};

test_i2c_amd_sb_tsi: amd_sb_tsi@74 {
	compatible = "amd,sb-tsi";
	reg = <0x74>;
};

test_i2c_mc3419: mc3419@75 {
	compatible = "memsic,mc3419";
	reg = <0x75>;
	int-gpios = <&test_gpio 0 0>;
};

test_i2c_ltrf216a0: ltrf216a@76 {
	compatible = "ltr,f216a";
	reg = <0x76>;
};

test_i2c_adxl367: adxl367@77 {
	compatible = "adi,adxl367";
	reg = <0x77>;
	odr = <4>;
	int1-gpios = <&test_gpio 0 0>;
};

test_i2c_tsl2561: tsl2561@78 {
	compatible = "ams,tsl2561";
	reg = <0x78>;
};

test_i2c_lps22df: lps22df@79 {
	compatible = "st,lps22df";
	reg = <0x79>;
	drdy-gpios = <&test_gpio 0 0>;
	status = "okay";
	odr = <LPS2xDF_DT_ODR_10HZ>;
	lpf = <LPS2xDF_DT_LP_FILTER_ODR_4>;
	avg = <LPS2xDF_DT_AVG_128_SAMPLES>;
};

test_i2c_hs300x: hs300x@7a {
	compatible = "renesas,hs300x";
	reg = <0x7a>;
};

test_i2c_lps28dfw: lps28dfw@7b {
	compatible = "st,lps28dfw";
	reg = <0x7b>;
	drdy-gpios = <&test_gpio 0 0>;
	status = "okay";
	odr = <LPS2xDF_DT_ODR_10HZ>;
	lpf = <LPS2xDF_DT_LP_FILTER_ODR_4>;
	avg = <LPS2xDF_DT_AVG_128_SAMPLES>;
	fs = <LPS28DFW_DT_FS_MODE_1_1260>;
};

test_i2c_lis2du12: lis2du12@7c {
	compatible = "st,lis2du12";
	reg = <0x7c>;
	int1-gpios = <&test_gpio 0 0>;
	int2-gpios = <&test_gpio 0 0>;
	accel-range = <LIS2DU12_DT_FS_16G>;
	accel-odr = <LIS2DU12_DT_ODR_AT_800Hz>;
};

test_i2c_bma4xx: bma4xx@7d {
	compatible = "bosch,bma4xx";
	reg = <0x7d>;
};

test_i2c_ags10: ags10@7e {
	compatible = "aosong,ags10";
	reg = <0x7e>;
};

test_i2c_bmp581: bmp581@7f {
	compatible = "bosch,bmp581";
	reg = <0x7f>;
	int-gpios = <&test_gpio 0 0>;
};

test_i2c_lis2de12: lis2de12@80 {
	compatible = "st,lis2de12";
	reg = <0x80>;
	int1-gpios = <&test_gpio 0 0>;
	int2-gpios = <&test_gpio 0 0>;
	accel-range = <LIS2DE12_DT_FS_16G>;
	accel-odr = <LIS2DE12_DT_ODR_AT_100Hz>;
};

test_i2c_vishay_vcnl36825t: vcnl36825t@81 {
	compatible = "vishay,vcnl36825t";
	reg = <0x81>;

	proximity-it = "1";
	multi-pulse = <8>;

	low-power;
};

test_i2c_tmag5273: tmag5273@82 {
	compatible = "ti,tmag5273";
	status = "okay";
	reg = <0x82>;
	int-gpios = <&test_gpio 15 1>;

	operation-mode = <TMAG5273_DT_OPER_MODE_CONTINUOUS>;
	angle-magnitude-axis = <TMAG5273_DT_ANGLE_MAG_XY>;
};

test_i2c_ens160: ens160@83 {
	compatible = "sciosense,ens160";
	reg = <0x83>;
	int-gpios = <&test_gpio 0 0>;
};

test_i2c_tsl2591: tsl2591@84 {
	compatible = "ams,tsl2591";
	reg = <0x84>;
	int-gpios = <&test_gpio 0 0>;
};

test_i2c_max31790: max31790@85 {
	compatible = "maxim,max31790";
	status = "okay";
	reg = <0x85>;

	max31790_fan_fault: max31790_fan_fault {
		compatible = "maxim,max31790-fan-fault";
		status = "okay";
	};

	max31790_fan_speed_1: max31790_fan_speed_1 {
		compatible = "maxim,max31790-fan-speed";
		status = "okay";
		channel = <1>;
	};

	max31790_fan_speed_2: max31790_fan_speed_2 {
		compatible = "maxim,max31790-fan-speed";
		status = "okay";
		channel = <2>;
	};

	max31790_fan_speed_3: max31790_fan_speed_3 {
		compatible = "maxim,max31790-fan-speed";
		status = "okay";
		channel = <3>;
	};

	max31790_fan_speed_4: max31790_fan_speed_4 {
		compatible = "maxim,max31790-fan-speed";
		status = "okay";
		channel = <4>;
	};

	max31790_fan_speed_5: max31790_fan_speed_5 {
		compatible = "maxim,max31790-fan-speed";
		status = "okay";
		channel = <5>;
	};

	max31790_fan_speed_6: max31790_fan_speed_6 {
		compatible = "maxim,max31790-fan-speed";
		status = "okay";
		channel = <6>;
	};
};

test_i2c_stts22h: stts22h@86 {
	compatible = "st,stts22h";
	reg = <0x86>;
	int-gpios = <&test_gpio 0 0>;
	sampling-rate = <STTS22H_100Hz>;
};

test_i2c_dht20: dht20@87 {
	compatible = "aosong,dht20";
	reg = <0x87>;
	status = "okay";
};

test_i2c_aht20: aht20@88 {
	compatible = "aosong,aht20";
	reg = <0x88>;
	status = "okay";
};

test_i2c_am2301b: am2301b@89 {
	compatible = "aosong,am2301b";
	reg = <0x89>;
};

test_i2c_lis2dux12: lis2dux12@8a {
	compatible = "st,lis2dux12";
	reg = <0x8a>;
	int1-gpios = <&test_gpio 0 0>;
	int2-gpios = <&test_gpio 0 0>;
	range = <LIS2DUX12_DT_FS_16G>;
	odr = <LIS2DUX12_DT_ODR_100Hz>;
	power-mode = <LIS2DUX12_OPER_MODE_HIGH_FREQUENCY>;
	status = "okay";
};

test_i2c_iis328dq: iis328dq@8a {
	compatible = "st,iis328dq";
	status = "okay";
	reg = <0x8a>;
	int2-gpios = <&test_gpio 0 0>;
	threshold-int-pad = <2>;
};

test_i2c_nct75: test_i2c_nct75@8b {
	compatible = "onnn,nct75";
	reg = <0x8b>;
	status = "okay";
};

test_i2c_tmp114: tmp114@8c {
	compatible = "ti,tmp114";
	reg = <0x8c>;
};

test_i2c_ina226: ina226@8d {
	compatible = "ti,ina226";
	reg = <0x8d>;
	current-lsb-microamps = <5000>;
	rshunt-micro-ohms = <500>;
};

test_i2c_shtc1: shtc1@8e {
	compatible = "sensirion,shtc1", "sensirion,shtcx";
	reg = <0x8e>;
	measure-mode = "low-power";
	clock-stretching;
};

test_i2c_lm95234: lm95234@8f {
	compatible = "national,lm95234";
	reg = <0x8f>;
	status = "okay";
};

test_i2c_sht21@90 {
	compatible = "sensirion,sht21";
	reg = <0x90>;
};
```

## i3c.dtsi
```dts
/*
 * Copyright (c) 2023 STMicroelectronics
 *
 * SPDX-License-Identifier: Apache-2.0
 *
 * Application overlay for i3c devices
 */

/****************************************
 * PLEASE KEEP REG ADDRESSES SEQUENTIAL *
 ***************************************/

test_i3c_lps22hh: lps22hh@100000803E0000001 {
	compatible = "st,lps22hh";
	reg = <0x1 0x00000803 0xE0000001>;
	assigned-address = <0x1>;
	drdy-gpios = <&test_gpio 0 0>;
};

test_i3c_lps22df: lps22df@200000803E0000002 {
	compatible = "st,lps22df";
	reg = <0x2 0x00000803 0xE0000002>;
	assigned-address = <0x2>;
	drdy-gpios = <&test_gpio 0 0>;
};

test_i3c_lps28dfw: lps28dfw@300000803E0000003 {
	compatible = "st,lps28dfw";
	reg = <0x3 0x00000803 0xE0000003>;
	assigned-address = <0x3>;
	drdy-gpios = <&test_gpio 0 0>;
};
```

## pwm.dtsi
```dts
/*
 * Copyright (c) 2024 Vitrolife A/S
 *
 * SPDX-License-Identifier: Apache-2.0
 *
 * Application overlay for pwm devices
 */

test_pwm_tsic_xx6: tsic_xx6 {
	status = "okay";
	compatible = "ist,tsic-xx6";
	pwms = <&test_pwm 0 0 0>;
	data-bits = <14>;
	lower-temperature-limit = <(-100)>;
	higher-temperature-limit = <250>;
};
```

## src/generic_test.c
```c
/*
 * Copyright (c) 2023 Google LLC
 * SPDX-License-Identifier: Apache-2.0
 */

#include <zephyr/device.h>
#include <zephyr/drivers/emul_sensor.h>
#include <zephyr/drivers/emul.h>
#include <zephyr/ztest.h>
#include <zephyr/drivers/sensor.h>
#include <zephyr/drivers/sensor_data_types.h>
#include <zephyr/rtio/rtio.h>
#include <zephyr/sys/bitarray.h>

#include <zephyr/logging/log.h>
LOG_MODULE_REGISTER(generic_test);

/**
 * A union of all sensor data types.
 */
union sensor_data_union {
	struct sensor_three_axis_data three_axis;
	struct sensor_occurrence_data occurrence;
	struct sensor_q31_data q31;
	struct sensor_byte_data byte;
	struct sensor_uint64_data uint64;
};

/*
 * Set up an RTIO context that can be shared for all sensors
 */

static struct sensor_chan_spec iodev_all_channels[SENSOR_CHAN_ALL];
static struct sensor_read_config iodev_read_config = {
	.channels = iodev_all_channels,
	.max = SENSOR_CHAN_ALL,
};
RTIO_IODEV_DEFINE(iodev_read, &__sensor_iodev_api, &iodev_read_config);

/* Create the RTIO context to service the reading */
RTIO_DEFINE_WITH_MEMPOOL(sensor_read_rtio_ctx, 1, 1, 1, 64, 4);

/**
 * @brief Prepare the RTIO context for next test
 */
static void before(void *args)
{
	ARG_UNUSED(args);

	/* Clear the array of requested channels */
	memset(iodev_all_channels, 0, sizeof(iodev_all_channels));

	/* Reset the channel count */
	iodev_read_config.count = 0;

	/* Remove previous sensor pointer */
	iodev_read_config.sensor = NULL;

	/* Wipe the mempool by marking every block free */
	zassert_ok(sys_bitarray_clear_region(sensor_read_rtio_ctx.block_pool->bitmap,
					     sensor_read_rtio_ctx.block_pool->info.num_blocks,
					     0));

	/* Flush the SQ and CQ */
	rtio_sqe_drop_all(&sensor_read_rtio_ctx);
	while (rtio_cqe_consume(&sensor_read_rtio_ctx))
		;
}

/**
 * @brief Helper function the carries out the generic sensor test for a given sensor device.
 *        Verifies that the device has a suitable emulator that implements the backend API and
 *        skips the test gracefully if not.
 */
static void run_generic_test(const struct device *dev)
{
	zassert_not_null(dev, "Cannot get device pointer. Is this driver properly instantiated?");

	const struct emul *emul = emul_get_binding(dev->name);

	/* Skip this sensor if there is no emulator loaded. */
	if (!emul) {
		ztest_test_skip();
	}

	/* Also skip if this emulator does not implement the backend API. */
	if (!emul_sensor_backend_is_supported(emul)) {
		ztest_test_skip();
	}

	/*
	 * Begin the actual test sequence
	 */

	static struct {
		bool supported;
		bool received;
		q31_t expected_values[CONFIG_GENERIC_SENSOR_TEST_NUM_EXPECTED_VALS];
		q31_t epsilon;
		int8_t expected_value_shift;
	} channel_table[SENSOR_CHAN_ALL];

	memset(channel_table, 0, sizeof(channel_table));

	/* Discover supported channels on this device and fill out our sensor read request */
	for (enum sensor_channel ch = 0; ch < ARRAY_SIZE(channel_table); ch++) {
		if (SENSOR_CHANNEL_3_AXIS(ch)) {
			continue;
		}

		q31_t lower, upper;
		int8_t shift;
		struct sensor_chan_spec ch_spec = {.chan_type = ch, .chan_idx = 0};

		if (emul_sensor_backend_get_sample_range(emul, ch_spec, &lower, &upper,
							 &channel_table[ch].epsilon, &shift) == 0) {
			/* This channel is supported */
			channel_table[ch].supported = true;

			LOG_INF("CH %d: lower=%d, upper=%d, eps=%d, shift=%d", ch, lower, upper,
				channel_table[ch].epsilon, shift);

			/* Add to the list of channels to read */
			iodev_all_channels[iodev_read_config.count++].chan_type = ch;

			/* Generate a set of CONFIG_GENERIC_SENSOR_TEST_NUM_EXPECTED_VALS test
			 * values.
			 */

			channel_table[ch].expected_value_shift = shift;
			for (size_t i = 0; i < CONFIG_GENERIC_SENSOR_TEST_NUM_EXPECTED_VALS; i++) {
				channel_table[ch].expected_values[i] =
					lower +
					(i * ((int64_t)upper - lower) /
					 (CONFIG_GENERIC_SENSOR_TEST_NUM_EXPECTED_VALS - 1));
				LOG_INF("CH %d: Expected value %d/%d: %d", ch, i + 1,
					CONFIG_GENERIC_SENSOR_TEST_NUM_EXPECTED_VALS,
					channel_table[ch].expected_values[i]);
			}
		}
	}
	iodev_read_config.sensor = dev;

	/* Do a read of all channels for quantity CONFIG_GENERIC_SENSOR_TEST_NUM_EXPECTED_VALS
	 * iterations.
	 */

	for (size_t iteration = 0; iteration < CONFIG_GENERIC_SENSOR_TEST_NUM_EXPECTED_VALS;
	     iteration++) {
		int rv;

		/* Reset received flag */
		for (size_t i = 0; i < ARRAY_SIZE(channel_table); i++) {
			channel_table[i].received = false;
		}

		/* Set this iteration's expected values in emul for every supported channel */
		for (size_t i = 0; i < iodev_read_config.count; i++) {
			struct sensor_chan_spec ch_spec = iodev_all_channels[i];

			rv = emul_sensor_backend_set_channel(
				emul, ch_spec,
				&channel_table[ch_spec.chan_type].expected_values[iteration],
				channel_table[ch_spec.chan_type].expected_value_shift);
			zassert_ok(rv,
				   "Cannot set value 0x%08x on channel (type: %d, index: %d) "
				   "(error %d, iteration %d/%d)",
				   channel_table[i].expected_values[iteration], ch_spec.chan_type,
				   ch_spec.chan_idx, rv, iteration + 1,
				   CONFIG_GENERIC_SENSOR_TEST_NUM_EXPECTED_VALS);
		}

		/* Perform the actual sensor read */
		rv = sensor_read_async_mempool(&iodev_read, &sensor_read_rtio_ctx, NULL);
		zassert_ok(rv, "Could not read sensor (error %d, iteration %d/%d)", rv,
			   iteration + 1, CONFIG_GENERIC_SENSOR_TEST_NUM_EXPECTED_VALS);

		/* Wait for a CQE */
		struct rtio_cqe *cqe = rtio_cqe_consume_block(&sensor_read_rtio_ctx);

		zassert_ok(cqe->result, "CQE has failed status (error %d, iteration %d/%d)",
			   cqe->result, iteration + 1,
			   CONFIG_GENERIC_SENSOR_TEST_NUM_EXPECTED_VALS);

		uint8_t *buf = NULL;
		uint32_t buf_len = 0;

		/* Cache the data from the CQE */
		rtio_cqe_get_mempool_buffer(&sensor_read_rtio_ctx, cqe, &buf, &buf_len);

		/* Release the CQE */
		rtio_cqe_release(&sensor_read_rtio_ctx, cqe);

		const struct sensor_decoder_api *decoder;
		union sensor_data_union decoded_data;

		zassert_ok(sensor_get_decoder(dev, &decoder));

		/* Loop through each channel */
		for (int ch = 0; ch < ARRAY_SIZE(channel_table); ch++) {
			if (!channel_table[ch].supported) {
				continue;
			}

			struct sensor_decode_context ctx =
				SENSOR_DECODE_CONTEXT_INIT(decoder, buf, ch, 0);

			rv = sensor_decode(&ctx, &decoded_data, 1);
			zassert_equal(1, rv, "Could not decode (error %d, ch %d, iteration %d/%d)",
				      rv, ch, iteration + 1,
				      CONFIG_GENERIC_SENSOR_TEST_NUM_EXPECTED_VALS);

			channel_table[ch].received = true;

			/* Retrieve the actual value */
			q31_t q;
			int8_t shift;

			switch (ch) {
			/* Special handling to break out triplet samples. */
			case SENSOR_CHAN_MAGN_X:
			case SENSOR_CHAN_ACCEL_X:
			case SENSOR_CHAN_GYRO_X:
				q = decoded_data.three_axis.readings[0].x;
				shift = decoded_data.three_axis.shift;
				break;
			case SENSOR_CHAN_MAGN_Y:
			case SENSOR_CHAN_ACCEL_Y:
			case SENSOR_CHAN_GYRO_Y:
				q = decoded_data.three_axis.readings[0].y;
				shift = decoded_data.three_axis.shift;
				break;
			case SENSOR_CHAN_MAGN_Z:
			case SENSOR_CHAN_ACCEL_Z:
			case SENSOR_CHAN_GYRO_Z:
				q = decoded_data.three_axis.readings[0].z;
				shift = decoded_data.three_axis.shift;
				break;

			/* Default case for single Q31 samples */
			default:
				q = decoded_data.q31.readings[0].value;
				shift = decoded_data.q31.shift;
				break;
			}

			/* Align everything to be a 64-bit Q32.32 number for comparison */
			int64_t expected_shifted =
				(int64_t)channel_table[ch].expected_values[iteration]
				<< channel_table[ch].expected_value_shift;
			int64_t actual_shifted = (int64_t)q << shift;
			int64_t epsilon_shifted = (int64_t)channel_table[ch].epsilon
						  << channel_table[ch].expected_value_shift;

			zassert_within(expected_shifted, actual_shifted, epsilon_shifted,
				       "Expected %lld, got %lld (shift %d, ch %d, iteration %d/%d, "
				       "Error %lld, Epsilon %lld)",
				       expected_shifted, actual_shifted, shift, ch, iteration + 1,
				       CONFIG_GENERIC_SENSOR_TEST_NUM_EXPECTED_VALS,
				       expected_shifted - actual_shifted, epsilon_shifted);
		}

		/* Release the memory */
		rtio_release_buffer(&sensor_read_rtio_ctx, buf, buf_len);

		/* Ensure all supported channels were received */
		int missing_channel_count = 0;

		for (size_t i = 0; i < ARRAY_SIZE(channel_table); i++) {
			if (channel_table[i].supported && !channel_table[i].received) {
				missing_channel_count++;
			}
		}

		zassert_equal(0, missing_channel_count, "%d channel(s) not received",
			      missing_channel_count);
	}
}

#define DECLARE_ZTEST_PER_DEVICE(n)                                                                \
	ZTEST(generic, test_##n)                                                                   \
	{                                                                                          \
		run_generic_test(DEVICE_DT_GET(n));                                                \
	}

/* Iterate through each of the emulated buses and create a test for each device. */
DT_FOREACH_CHILD_STATUS_OKAY(DT_NODELABEL(test_i2c), DECLARE_ZTEST_PER_DEVICE)
DT_FOREACH_CHILD_STATUS_OKAY(DT_NODELABEL(test_i3c), DECLARE_ZTEST_PER_DEVICE)
DT_FOREACH_CHILD_STATUS_OKAY(DT_NODELABEL(test_spi), DECLARE_ZTEST_PER_DEVICE)

ZTEST_SUITE(generic, NULL, NULL, before, NULL, NULL);
```
